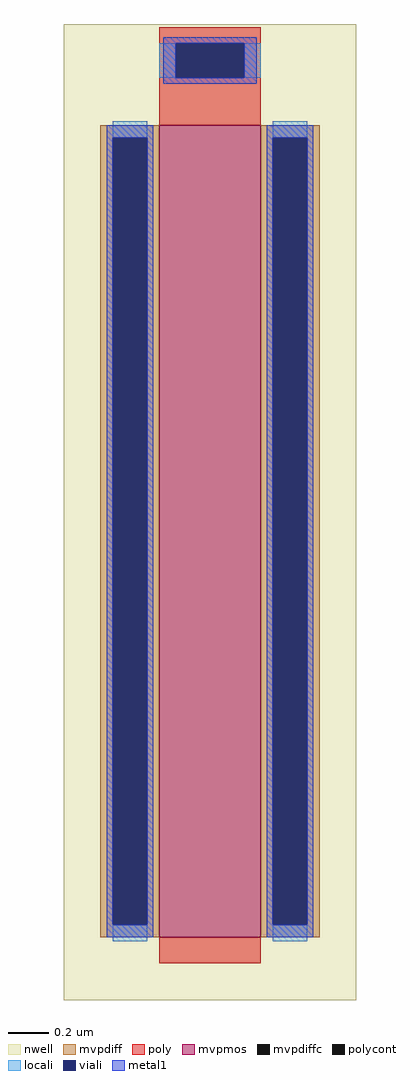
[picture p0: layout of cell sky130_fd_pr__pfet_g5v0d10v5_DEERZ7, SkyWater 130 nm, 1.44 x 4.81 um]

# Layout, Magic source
magic
tech sky130A
magscale 1 2
<< nwell >>
rect -144 -498 144 464
<< mvpmos >>
rect -50 -436 50 364
<< mvpdiff >>
rect -108 352 -50 364
rect -108 -424 -96 352
rect -62 -424 -50 352
rect -108 -436 -50 -424
rect 50 352 108 364
rect 50 -424 62 352
rect 96 -424 108 352
rect 50 -436 108 -424
<< mvpdiffc >>
rect -96 -424 -62 352
rect 62 -424 96 352
<< poly >>
rect -50 445 50 461
rect -50 411 -34 445
rect 34 411 50 445
rect -50 364 50 411
rect -50 -462 50 -436
<< polycont >>
rect -34 411 34 445
<< locali >>
rect -50 411 -34 445
rect 34 411 50 445
rect -96 352 -62 368
rect -96 -440 -62 -424
rect 62 352 96 368
rect 62 -440 96 -424
<< viali >>
rect -34 411 34 445
rect -96 -424 -62 352
rect 62 -424 96 352
<< metal1 >>
rect -46 445 46 451
rect -46 411 -34 445
rect 34 411 46 445
rect -46 405 46 411
rect -102 352 -56 364
rect -102 -424 -96 352
rect -62 -424 -56 352
rect -102 -436 -56 -424
rect 56 352 102 364
rect 56 -424 62 352
rect 96 -424 102 352
rect 56 -436 102 -424
<< properties >>
string gencell sky130_fd_pr__pfet_g5v0d10v5
string library sky130
string parameters w 4 l 0.5 m 1 nf 1 diffcov 100 polycov 100 guard 0 glc 1 grc 1 gtc 1 gbc 1 tbcov 100 rlcov 100 topc 1 botc 0 poverlap 0 doverlap 1 lmin 0.50 wmin 0.42 compatible {sky130_fd_pr__pfet_01v8  sky130_fd_pr__pfet_01v8_lvt sky130_fd_pr__pfet_01v8_hvt  sky130_fd_pr__pfet_g5v0d10v5} full_metal 1 viasrc 100 viadrn 100 viagate 100 viagb 0 viagr 0 viagl 0 viagt 0
<< end >>
